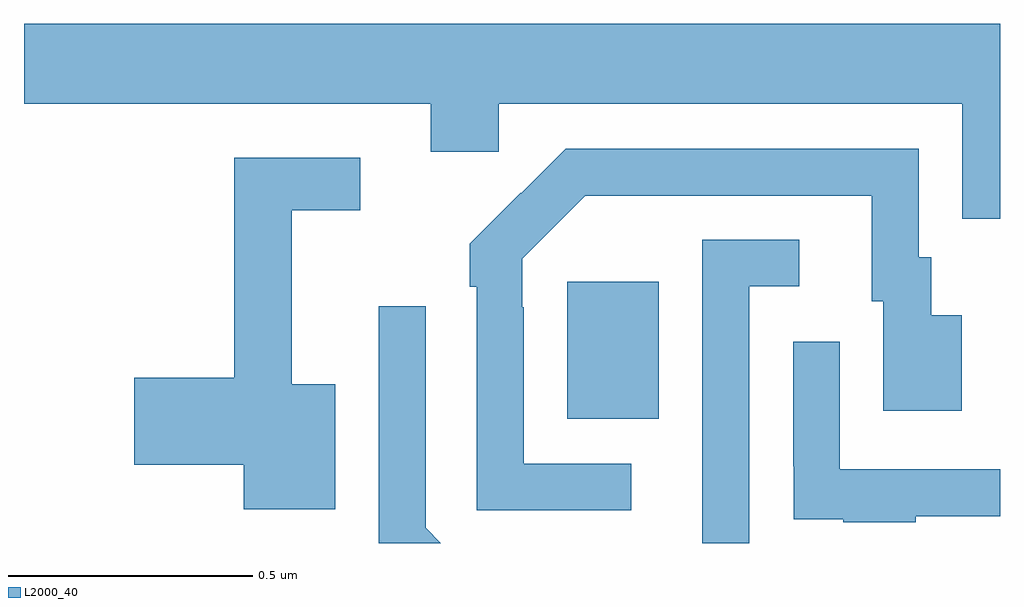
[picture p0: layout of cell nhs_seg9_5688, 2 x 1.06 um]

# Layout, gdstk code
import gdstk
lib = gdstk.Library(unit=1e-6, precision=1e-09)
def R(c, l, rs):  # rectangles x0, y0, x1, y1
    for r in rs: c.add(gdstk.rectangle(r[:2], r[2:], *l))
def P(c, l, *ps):  # polygons
    for p in ps: c.add(gdstk.Polygon(p, *l))
L2000_40 = (2000, 40)

nhs_seg9_5688 = lib.new_cell('nhs_seg9_5688')
R(nhs_seg9_5688, L2000_40, [(183.113,1215.755,183.301,1216.036)])
P(nhs_seg9_5688, L2000_40, [(184,1216.564),(182,1216.564),(182,1216.4),(182.834,1216.4),(182.834,1216.302),(182.973,1216.302),(182.973,1216.4),(183.923,1216.4),(183.923,1216.165),(184,1216.165)],
  [(183.244,1215.663),(183.024,1215.663),(183.024,1215.983),(183.021,1215.983),(183.021,1216.083),(183.15,1216.212),(183.737,1216.212),(183.737,1215.996),(183.761,1215.996),(183.761,1215.771),(183.922,1215.771),(183.922,1215.967),(183.859,1215.967),(183.859,1216.086),(183.834,1216.086),(183.834,1216.308),(183.11,1216.308),(183.019,1216.217),(183.018,1216.218),(182.913,1216.113),(182.913,1216.025),(182.928,1216.025),(182.928,1215.567),(183.244,1215.567)],
  [(182.638,1215.826),(182.549,1215.826),(182.549,1216.182),(182.689,1216.182),(182.689,1216.29),(182.431,1216.29),(182.431,1215.839),(182.226,1215.839),(182.226,1215.661),(182.45,1215.661),(182.45,1215.569),(182.638,1215.569)],
  [(183.486,1216.026),(183.589,1216.026),(183.589,1216.122),(183.39,1216.122),(183.39,1215.5),(183.486,1215.5)],
  [(182.823,1215.531),(182.823,1215.985),(182.727,1215.985),(182.727,1215.5),(182.854,1215.5)],
  [(183.827,1215.555),(184,1215.555),(184,1215.651),(183.672,1215.651),(183.672,1215.913),(183.576,1215.913),(183.576,1215.658),(183.577,1215.658),(183.577,1215.549),(183.679,1215.549),(183.679,1215.543),(183.827,1215.543)])

lib.write_gds('nhs_seg9_5688.gds')
